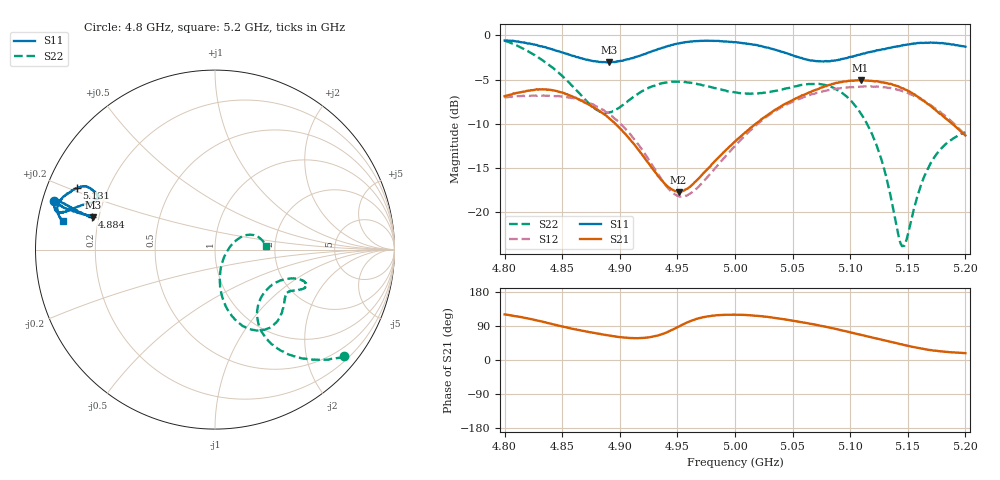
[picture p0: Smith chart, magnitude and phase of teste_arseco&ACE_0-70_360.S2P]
! Network Analyzer HP8722D
! Hewlett-Packard
! Data name: Linha & Wilkinson
! Saver's name: Rodrigo Anjos
! Comments: Teste da utilização de aquisição
! continua pelo VNA HP8722D
! Time and date: 8/5/2025 15:45
!  Frequency  S11  S21  S12  S22
# HZ  S  MA R 50
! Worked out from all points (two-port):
!   401 points, 4.8 GHz to 5.2 GHz, reference 50 ohm
!   highest |S21| = -5.06 dB at 5.109 GHz (marker M1); lowest = -17.7 dB at 4.951 GHz (marker M2)
!   |S21| within 3 dB of the highest: start of sweep to 4.876 GHz; 5.04 GHz to 5.17 GHz (130.9 MHz wide, 2.56 % of centre)
!   lowest |S11| = -3.1 dB at 4.891 GHz (marker M3), VSWR 5.75, Z = 8.83 + j6.3 ohm
!   |S11| at or under -10 dB: nowhere
!   |S22| runs from -23.9 to -0.6 dB; largest |S21 - S12| = 0.73
!   S11 on the Smith chart (normalised r, x): 4.8 GHz: 0.03, +0.15; 4.884 GHz: 0.17, +0.13; 5.131 GHz: 0.09, +0.21; 5.2 GHz: 0.07, +0.09
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4.8e9  0.9358 163.0  0.4527 120.3  0.4449 15.5  0.933 -39.5
4.833e9  0.8633 164.5  0.4958 101.0  0.4559 4.8  0.7219 -54.5
4.867e9  0.7397 164.9  0.4265 77.4  0.4291 -9.9  0.4547 -58.6
4.884e9  0.7068 165.1  0.367 67.8  0.383 -19.9  0.3673 -44.5
4.891e9  0.7039 165.2  0.3382 64.3  0.357 -23.7  0.3665 -35.9
4.908e9  0.7337 165.0  0.2622 58.1  0.2807 -32.1  0.4292 -22.3
4.934e9  0.8394 163.6  0.1577 65.4  0.1611 -29.4  0.5294 -19.8
4.951e9  0.9011 162.8  0.13 88.0  0.1229 -6.4  0.5468 -22.0
4.966e9  0.9276 163.0  0.1492 107.9  0.1345 16.9  0.533 -24.4
5e9  0.9163 166.1  0.2507 119.5  0.237 37.5  0.4754 -29.1
5.033e9  0.836 164.8  0.372 111.8  0.3668 32.4  0.4833 -36.7
5.067e9  0.721 157.5  0.4837 95.1  0.4654 17.3  0.5314 -51.7
5.088e9  0.7237 155.1  0.5389 81.7  0.4981 5.2  0.4947 -64.7
5.109e9  0.7815 153.8  0.5583 66.5  0.5134 -7.6  0.3637 -76.8
5.121e9  0.813 154.4  0.5493 57.9  0.5129 -15.3  0.2567 -81.6
5.131e9  0.8414 156.0  0.5382 51.0  0.5071 -21.9  0.1607 -80.6
5.134e9  0.8488 156.4  0.5312 48.8  0.5047 -23.8  0.1326 -77.4
5.142e9  0.8664 158.4  0.5145 43.1  0.4919 -29.2  0.07308 -52.4
5.146e9  0.8825 159.3  0.5013 40.2  0.4808 -31.6  0.06437 -24.0
5.169e9  0.9114 164.5  0.4026 26.5  0.4059 -44.8  0.1843 25.1
5.183e9  0.8991 166.9  0.3393 21.6  0.3471 -50.2  0.2429 18.2
5.2e9  0.8634 169.2  0.2714 18.1  0.2721 -54.1  0.283 4.3
